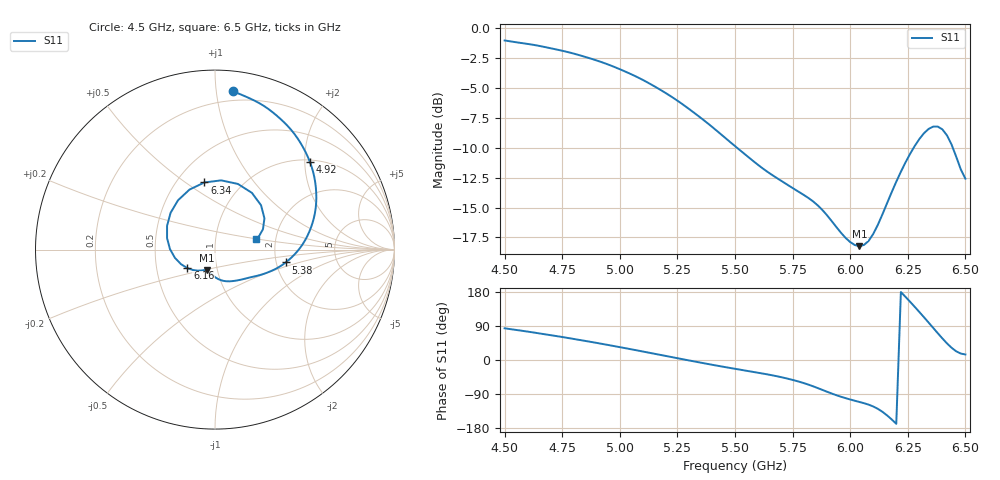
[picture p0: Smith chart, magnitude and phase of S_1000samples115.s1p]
! TOUCHSTONE file generated by CST MICROWAVE STUDIO
! Date and time: Thu Oct 27 01:18:29 2022
! Project name: L.cst
! Parameters = {Di=1.27; Epsilon_r=1.56; InnerDiameter=1.27; Length=2; Lf=10; Lg=60; OuterConductorThickness=0.2921; OuterDiameter=3.6; Wf=3; Wp=41.2; de=1.5; df=6.8; g=0.8; gx=1.99975; gy=3.66599; h=2.34; hf=1.524; px=12.6913; py=11.2151; w=9.7; wx=10.6916; wy=7.54907}
! Header version: 2018
! Port assignment regex: !\s*Touchstone port\s*([0-9]+)\s*=\s*(CST MWS port|CST DS port)\s*([0-9]+|Zmin|Zmax)\s*\(\"(.*)\"\)(\s*mode\s*([0-9]+))?.*
! Touchstone port assignment:
! Touchstone port 1 = CST MWS port 1 ("")
# GHz S DB R 50
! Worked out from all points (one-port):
!   101 points, 4.5 GHz to 6.5 GHz, reference 50 ohm
!   lowest |S11| = -18.2 dB at 6.04 GHz (marker M1), VSWR 1.28, Z = 44.7 - j10.4 ohm
!   |S11| at or under -10 dB: 5.509 GHz to 6.276 GHz (767.2 MHz wide, 13 % of centre); 6.445 GHz to end of sweep
!   S11 on the Smith chart (normalised r, x): 4.5 GHz: 0.13, +1.11; 4.92 GHz: 1.04, +2.12; 5.38 GHz: 2.26, -0.38; 6.16 GHz: 0.72, -0.15; 6.34 GHz: 0.68, +0.59; 6.5 GHz: 1.57, +0.20
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4.5  -1.04 83.7
4.62  -1.39 73.1
4.76  -1.95 59.6
4.92  -2.85 42.9
5  -3.44 33.9
5.12  -4.54 20.0
5.26  -6.20 3.5
5.38  -7.94 -10.2
5.5  -9.86 -23.2
5.76  -13.49 -54.2
5.86  -14.83 -74.3
6  -17.89 -104.2
6.04  -18.23 -110.7
6.06  -18.12 -114.0
6.1  -17.21 -122.6
6.16  -14.64 -146.2
6.2  -12.84 -168.4
6.24  -11.23 166.6
6.26  -10.51 153.6
6.3  -9.28 126.8
6.34  -8.44 99.0
6.36  -8.24 84.9
6.38  -8.24 70.8
6.4  -8.47 57.0
6.42  -8.97 43.9
6.44  -9.74 32.3
6.46  -10.74 23.0
6.5  -12.59 14.5
